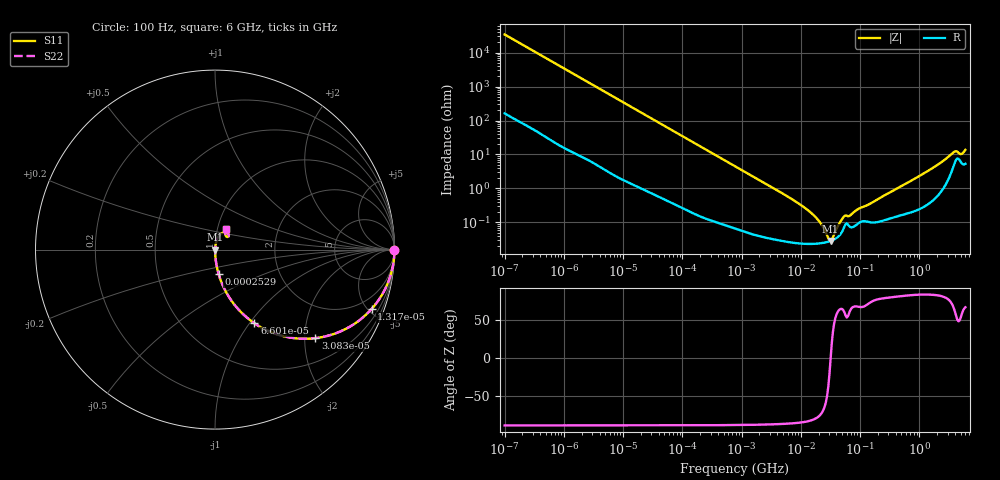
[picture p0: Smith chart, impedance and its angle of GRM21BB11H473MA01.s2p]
!Murata Part Number: GRM21BB11H473MA01
!These Parameters are Measured in Series Mode Connection
!Data Generated on Mar 30, 2021
!  o--ll--o
!Port1  Port2
!  o------o
!Operation Temp=25[degC], DC Bias Voltage=0[V]
!Freq. Start=100[Hz] Stop=6[GHz] 401[Steps]
# Hz S RI R 50
!Freq.(Hz) S11(Real) S11(Imag) S21(Real) S21(Imag) S12(Real) S12(Imag) S22(Real) S22(Imag)
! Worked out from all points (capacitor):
!   401 points, 100 Hz to 6 GHz, reference 50 ohm
!   read as one part in series: C = 46.6 nF near 109 Hz
!   lowest |Z| = 28.4 mohm at 31.85 MHz (marker M1)
!   series resonance near 31.89 MHz, so ESL is about 540 pH
!   S11 on the Smith chart (normalised r, x): 100 Hz: open; 13.17 kHz: 1.03, -5.26; 30.83 kHz: 1.01, -2.25; 66 kHz: 1.01, -1.06; 252.9 kHz: 1.00, -0.28; 6 GHz: 1.11, +0.25
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100  1 -0.00293  2.25e-05 0.00293  2.25e-05 0.00293  1 -0.00293
2008  0.9963 -0.0581  0.00367 0.0581  0.00367 0.0581  0.9963 -0.0581
5378  0.9756 -0.1517  0.0244 0.1517  0.0244 0.1517  0.9756 -0.1517
13169  0.8725 -0.3309  0.1275 0.3309  0.1275 0.3309  0.8725 -0.3309
30832  0.5592 -0.4934  0.4408 0.4934  0.4408 0.4934  0.5592 -0.4934
40335  0.4271 -0.4914  0.5729 0.4914  0.5729 0.4914  0.4271 -0.4914
66005  0.2198 -0.4106  0.7802 0.4106  0.7802 0.4106  0.2198 -0.4106
118133  0.0823 -0.2709  0.9177 0.2709  0.9177 0.2709  0.0823 -0.2709
252896  0.0201 -0.1357  0.9799 0.1357  0.9799 0.1357  0.0201 -0.1357
774597  0.00272 -0.0454  0.9973 0.0454  0.9973 0.0454  0.00272 -0.0454
6644369  0.000285 -0.00517  0.9997 0.00517  0.9997 0.00517  0.000285 -0.00517
1.555665e7  0.000236 -0.00177  0.9998 0.00177  0.9998 0.00177  0.000236 -0.00177
2.128304e7  0.000243 -0.000949  0.9998 0.000949  0.9998 0.000949  0.000243 -0.000949
2.911731e7  0.00027 -0.00021  0.9997 0.00021  0.9997 0.00021  0.00027 -0.00021
3.184506e7  0.000284 -2.9e-06  0.9997 2.9e-06  0.9997 2.9e-06  0.000284 -2.9e-06
5.449875e7  0.000761 0.00134  0.9992 -0.00134  0.9992 -0.00134  0.000761 0.00134
6.817316e7  0.000731 0.00143  0.9993 -0.00143  0.9993 -0.00143  0.000731 0.00143
3.124326e8  0.00134 0.00738  0.9987 -0.00738  0.9987 -0.00738  0.00134 0.00738
1.497423e9  0.0049 0.0347  0.9951 -0.0347  0.9951 -0.0347  0.0049 0.0347
3.666503e9  0.0467 0.0952  0.9533 -0.0952  0.9533 -0.0952  0.0467 0.0952
5.016141e9  0.0624 0.0729  0.9376 -0.0729  0.9376 -0.0729  0.0624 0.0729
6e9  0.0638 0.1121  0.9362 -0.1121  0.9362 -0.1121  0.0638 0.1121
